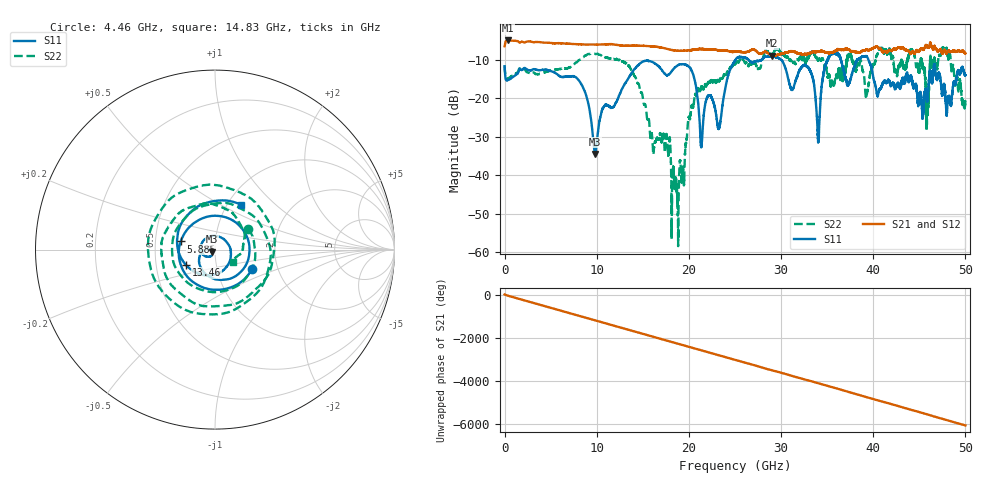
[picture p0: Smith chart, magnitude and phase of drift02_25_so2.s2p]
!Created with skrf (http://scikit-rf.org).
# Hz S RI R 50.0
!freq ReS11 ImS11 ReS21 ImS21 ReS12 ImS12 ReS22 ImS22
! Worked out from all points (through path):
!   10001 points, 300 kHz to 50 GHz, reference 50 ohm
!   highest |S21| = -5.04 dB at 325.3 MHz (marker M1); lowest = -9.0 dB at 29.01 GHz (marker M2)
!   group delay of S21, straight-line fit = 336 ps
!   lowest |S11| = -34.5 dB at 9.84 GHz (marker M3), VSWR 1.04, Z = 48.5 - j1.04 ohm
!   |S11| at or under -10 dB: start of sweep to 25.08 GHz; 29.97 GHz to 35.06 GHz (5.088 GHz wide, 15.6 % of centre); 39.47 GHz to end of sweep (the widest 3 of 9)
!   |S22| runs from -58.4 to -6.8 dB; largest |S21 - S12| = 0.022
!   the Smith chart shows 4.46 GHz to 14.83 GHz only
!   S11 on the Smith chart (normalised r, x): 4.46 GHz: 1.47, -0.34; 5.885 GHz: 0.68, +0.06; 13.46 GHz: 0.71, -0.13; 14.83 GHz: 1.15, +0.63
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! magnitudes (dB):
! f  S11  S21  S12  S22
! 300 kHz  -11.7  -6.5  -6.4  -11.6
! 325.3 MHz  -15.4  -5.0  -5.0  -15.0
! 4.46 GHz  -12.6  -5.6  -5.6  -13.3
! 5.885 GHz  -14.2  -5.7  -5.7  -12.5
! 8.335 GHz  -16.4  -6.0  -6.0  -9.6
! 9.84 GHz  -34.5  -6.1  -6.1  -8.5
! 13.46 GHz  -14.7  -6.4  -6.4  -11.6
! 14.83 GHz  -10.8  -6.4  -6.4  -18.5
! 16.67 GHz  -11.6  -6.7  -6.7  -30.5
! 18.68 GHz  -11.7  -7.7  -7.7  -43.6
! 20.37 GHz  -13.3  -7.5  -7.5  -22.0
! 21.37 GHz  -32.4  -7.2  -7.2  -17.1
! 23.31 GHz  -27.5  -7.5  -7.6  -15.6
! 25 GHz  -10.2  -8.0  -8.0  -11.2
! 29.01 GHz  -9.1  -9.0  -9.0  -8.2
! 33.34 GHz  -13.9  -8.1  -8.1  -8.1
! 34.02 GHz  -31.5  -7.9  -7.9  -10.3
! 35.51 GHz  -8.5  -8.1  -8.0  -15.6
! 41.67 GHz  -15.4  -7.7  -7.8  -7.7
! 45.85 GHz  -20.5  -6.7  -6.8  -21.3
! 47.77 GHz  -17.6  -7.6  -7.6  -7.3
! 50 GHz  -14.0  -8.4  -8.4  -20.8
